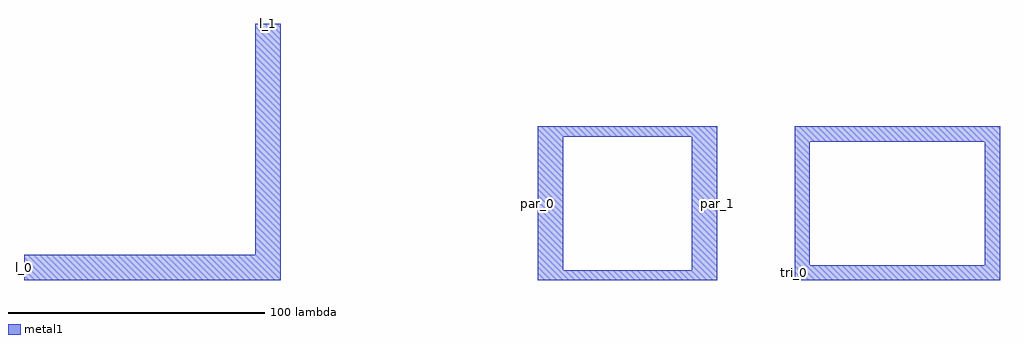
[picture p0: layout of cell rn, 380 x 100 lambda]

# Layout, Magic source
magic
tech exttest
<< metal1 >>
rect 0 0 100 10
rect 90 10 100 100
rect 200 0 210 60
rect 210 0 260 4
rect 210 56 260 60
rect 260 0 270 60
rect 300 0 380 6
rect 300 6 306 60
rect 306 54 380 60
rect 374 6 380 54
<< labels >>
rlabel metal1 0 5 0 5 0 l_0
port 1 nsew
rlabel metal1 95 100 95 100 0 l_1
port 2 nsew
rlabel metal1 200 30 200 30 0 par_0
port 3 nsew
rlabel metal1 270 30 270 30 0 par_1
port 4 nsew
rlabel metal1 300 0 300 6 0 tri_0
port 5 nsew
<< end >>
